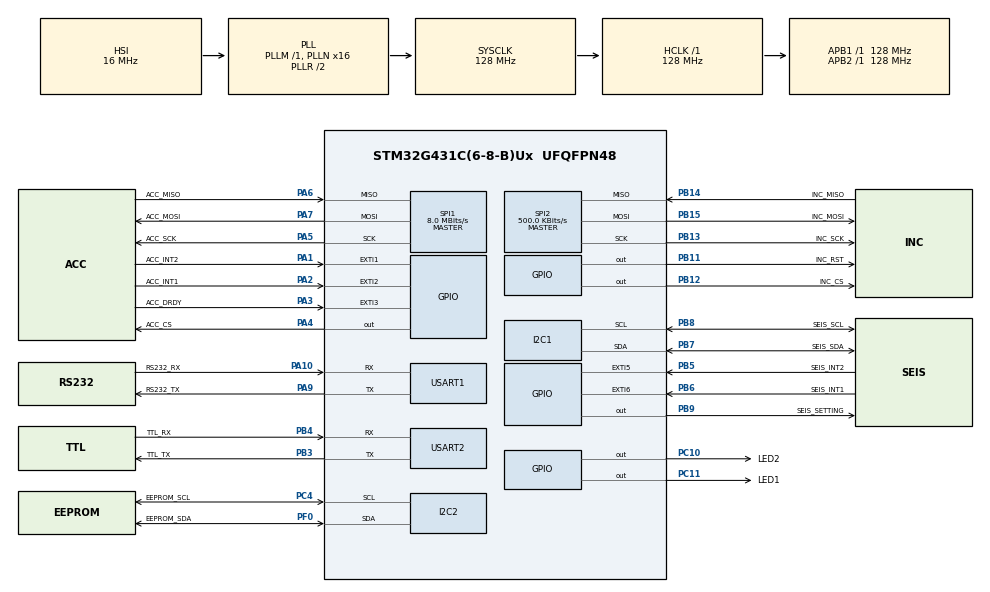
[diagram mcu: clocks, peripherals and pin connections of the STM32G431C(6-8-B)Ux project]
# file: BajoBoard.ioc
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Dma.Request0=USART1_RX
Dma.Request1=USART2_RX
Dma.USART1_RX.0.Direction=DMA_PERIPH_TO_MEMORY
Dma.USART1_RX.0.EventEnable=DISABLE
Dma.USART1_RX.0.Instance=DMA1_Channel1
Dma.USART1_RX.0.MemDataAlignment=DMA_MDATAALIGN_BYTE
Dma.USART1_RX.0.MemInc=DMA_MINC_ENABLE
Dma.USART1_RX.0.Mode=DMA_CIRCULAR
Dma.USART1_RX.0.PeriphDataAlignment=DMA_PDATAALIGN_BYTE
Dma.USART1_RX.0.PeriphInc=DMA_PINC_DISABLE
Dma.USART1_RX.0.Polarity=HAL_DMAMUX_REQ_GEN_RISING
Dma.USART1_RX.0.Priority=DMA_PRIORITY_VERY_HIGH
Dma.USART1_RX.0.RequestNumber=1
Dma.USART1_RX.0.SignalID=NONE
Dma.USART1_RX.0.SyncEnable=DISABLE
Dma.USART1_RX.0.SyncPolarity=HAL_DMAMUX_SYNC_NO_EVENT
Dma.USART1_RX.0.SyncRequestNumber=1
Dma.USART1_RX.0.SyncSignalID=NONE
Dma.USART2_RX.1.Direction=DMA_PERIPH_TO_MEMORY
Dma.USART2_RX.1.EventEnable=DISABLE
Dma.USART2_RX.1.Instance=DMA1_Channel2
Dma.USART2_RX.1.MemDataAlignment=DMA_MDATAALIGN_BYTE
Dma.USART2_RX.1.MemInc=DMA_MINC_ENABLE
Dma.USART2_RX.1.Mode=DMA_CIRCULAR
Dma.USART2_RX.1.PeriphDataAlignment=DMA_PDATAALIGN_BYTE
Dma.USART2_RX.1.PeriphInc=DMA_PINC_DISABLE
Dma.USART2_RX.1.Polarity=HAL_DMAMUX_REQ_GEN_RISING
Dma.USART2_RX.1.Priority=DMA_PRIORITY_MEDIUM
Dma.USART2_RX.1.RequestNumber=1
Dma.USART2_RX.1.SignalID=NONE
Dma.USART2_RX.1.SyncEnable=DISABLE
Dma.USART2_RX.1.SyncPolarity=HAL_DMAMUX_SYNC_NO_EVENT
Dma.USART2_RX.1.SyncRequestNumber=1
Dma.USART2_RX.1.SyncSignalID=NONE
FREERTOS.BinarySemaphores01=rtcBinarySem,Dynamic,NULL;intBinarySem,Dynamic,NULL;RS232BinarySem,Dynamic,NULL
FREERTOS.Queues01=serialQueue,2,30,1,Dynamic,NULL,NULL;ttlQueue,4,30,1,Dynamic,NULL,NULL
FREERTOS.Tasks01=defaultTask,24,512,StartDefaultTask,Default,NULL,Dynamic,NULL,NULL;accTask,40,512,StartAccTask,Default,NULL,Dynamic,NULL,NULL;serialTask,32,512,StartSerialTask,Default,NULL,Dynamic,NULL,NULL;ttlTask,8,256,StartTtlTask,Default,NULL,Dynamic,NULL,NULL;watchdogTask,43,256,StartWatchdogTask,Default,NULL,Dynamic,NULL,NULL
FREERTOS.configTOTAL_HEAP_SIZE=10000
I2C1.Timing=0x20A0C4DF
I2C2.Timing=0x20A0C4DF
Mcu.Family=STM32G4
Mcu.Name=STM32G431C(6-8-B)Ux
Mcu.Package=UFQFPN48
NVIC.DMA1_Channel1_IRQn=true\:5\:0\:false\:true\:true\:2\:true\:false\:true
NVIC.DMA1_Channel2_IRQn=true\:5\:0\:false\:true\:true\:1\:true\:false\:true
NVIC.EXTI1_IRQn=true\:5\:0\:false\:true\:true\:9\:true\:true\:true
NVIC.EXTI2_IRQn=true\:5\:0\:false\:true\:true\:5\:true\:true\:true
NVIC.EXTI3_IRQn=true\:5\:0\:false\:true\:true\:8\:false\:true\:true
NVIC.EXTI9_5_IRQn=true\:5\:0\:false\:true\:true\:6\:true\:true\:true
NVIC.PriorityGroup=NVIC_PRIORITYGROUP_4
NVIC.RTC_Alarm_IRQn=true\:5\:0\:false\:true\:true\:7\:true\:true\:true
NVIC.TIM6_DAC_IRQn=true\:0\:0\:false\:false\:true\:false\:false\:true
NVIC.TimeBase=TIM6_DAC_IRQn
NVIC.TimeBaseIP=TIM6
NVIC.USART1_IRQn=true\:5\:0\:false\:true\:true\:3\:true\:true\:true
NVIC.USART2_IRQn=true\:5\:0\:false\:true\:true\:4\:true\:true\:true
PA1.GPIO_Label=ACC_INT2
PA1.Signal=GPXTI1
PA10.GPIO_Label=RS232_RX
PA10.Mode=Asynchronous
PA10.Signal=USART1_RX
PA13.Mode=Serial_Wire
PA13.Signal=SYS_JTMS-SWDIO
PA14.Mode=Serial_Wire
PA14.Signal=SYS_JTCK-SWCLK
PA2.GPIO_Label=ACC_INT1
PA2.GPIO_ModeDefaultEXTI=GPIO_MODE_IT_FALLING
PA2.Signal=GPXTI2
PA3.GPIO_Label=ACC_DRDY
PA3.Signal=GPXTI3
PA4.GPIO_Label=ACC_CS
PA4.Signal=GPIO_Output
PA5.GPIO_Label=ACC_SCK
PA5.Mode=Full_Duplex_Master
PA5.Signal=SPI1_SCK
PA6.GPIO_Label=ACC_MISO
PA6.Mode=Full_Duplex_Master
PA6.Signal=SPI1_MISO
PA7.GPIO_Label=ACC_MOSI
PA7.Mode=Full_Duplex_Master
PA7.Signal=SPI1_MOSI
PA9.GPIO_Label=RS232_TX
PA9.Mode=Asynchronous
PA9.Signal=USART1_TX
PB11.GPIO_Label=INC_RST
PB11.GPIO_PuPd=GPIO_PULLUP
PB11.PinState=GPIO_PIN_SET
PB11.Signal=GPIO_Output
PB12.GPIO_Label=INC_CS
PB12.GPIO_ModeDefaultOutputPP=GPIO_MODE_OUTPUT_PP
PB12.GPIO_PuPd=GPIO_PULLUP
PB12.PinState=GPIO_PIN_SET
PB12.Signal=GPIO_Output
PB13.GPIO_Label=INC_SCK
PB13.Mode=Full_Duplex_Master
PB13.Signal=SPI2_SCK
PB14.GPIO_Label=INC_MISO
PB14.Mode=Full_Duplex_Master
PB14.Signal=SPI2_MISO
PB15.GPIO_Label=INC_MOSI
PB15.Mode=Full_Duplex_Master
PB15.Signal=SPI2_MOSI
PB3.GPIO_Label=TTL_TX
PB3.Mode=Asynchronous
PB3.Signal=USART2_TX
PB4.GPIO_Label=TTL_RX
PB4.Mode=Asynchronous
PB4.Signal=USART2_RX
PB5.GPIO_Label=SEIS_INT2
PB5.GPIO_ModeDefaultEXTI=GPIO_MODE_IT_FALLING
PB5.Signal=GPXTI5
PB6.GPIO_Label=SEIS_INT1
PB6.GPIO_ModeDefaultEXTI=GPIO_MODE_IT_FALLING
PB6.Signal=GPXTI6
PB7.GPIO_Label=SEIS_SDA
PB7.Mode=I2C
PB7.Signal=I2C1_SDA
PB8-BOOT0.GPIO_Label=SEIS_SCL
PB8-BOOT0.Mode=I2C
PB8-BOOT0.Signal=I2C1_SCL
PB9.GPIO_Label=SEIS_SETTING
PB9.Signal=GPIO_Output
PC10.GPIO_Label=LED2
PC10.Signal=GPIO_Output
PC11.GPIO_Label=LED1
PC11.Signal=GPIO_Output
PC4.GPIO_Label=EEPROM_SCL
PC4.Mode=I2C
PC4.Signal=I2C2_SCL
PF0-OSC_IN.GPIO_Label=EEPROM_SDA
PF0-OSC_IN.Mode=I2C
PF0-OSC_IN.Signal=I2C2_SDA
ProjectManager.HeapSize=0x200
ProjectManager.StackSize=0x400
ProjectManager.TargetToolchain=STM32CubeIDE
RCC.ADC12Freq_Value=128000000
RCC.AHBFreq_Value=128000000
RCC.APB1Freq_Value=128000000
RCC.APB1TimFreq_Value=128000000
RCC.APB2Freq_Value=128000000
RCC.APB2TimFreq_Value=128000000
RCC.CortexFreq_Value=128000000
RCC.EXTERNAL_CLOCK_VALUE=12288000
RCC.HCLKFreq_Value=128000000
RCC.HSE_VALUE=8000000
RCC.HSI48_VALUE=48000000
RCC.HSI_VALUE=16000000
RCC.LSE_VALUE=32768
RCC.PLLN=16
RCC.PLLQ=RCC_PLLQ_DIV4
RCC.SYSCLKFreq_VALUE=128000000
RCC.SYSCLKSource=RCC_SYSCLKSOURCE_PLLCLK
RCC.USBFreq_Value=64000000
RCC.VCOOutputFreq_Value=256000000
RTC.Alarm-Alarm\ A=RTC_ALARM_A
RTC.AlarmMaskDateWeekDay-Alarm\ A=RTC_ALARMMASK_DATEWEEKDAY
RTC.AlarmMaskHours-Alarm\ A=RTC_ALARMMASK_HOURS
RTC.AlarmMaskMinutes-Alarm\ A=RTC_ALARMMASK_MINUTES
RTC.AlarmMaskSeconds-Alarm\ A=RTC_ALARMMASK_SECONDS
RTC.Format=RTC_FORMAT_BIN
RTC.SynchPrediv=249
SPI1.BaudRatePrescaler=SPI_BAUDRATEPRESCALER_16
SPI1.CLKPhase=SPI_PHASE_1EDGE
SPI1.CLKPolarity=SPI_POLARITY_LOW
SPI1.CalculateBaudRate=8.0 MBits/s
SPI1.DataSize=SPI_DATASIZE_8BIT
SPI1.Direction=SPI_DIRECTION_2LINES
SPI1.Mode=SPI_MODE_MASTER
SPI1.NSSPMode=SPI_NSS_PULSE_DISABLE
SPI1.VirtualType=VM_MASTER
SPI2.BaudRatePrescaler=SPI_BAUDRATEPRESCALER_256
SPI2.CLKPhase=SPI_PHASE_2EDGE
SPI2.CLKPolarity=SPI_POLARITY_HIGH
SPI2.CalculateBaudRate=500.0 KBits/s
SPI2.DataSize=SPI_DATASIZE_8BIT
SPI2.Direction=SPI_DIRECTION_2LINES
SPI2.Mode=SPI_MODE_MASTER
SPI2.VirtualType=VM_MASTER
USART1.VirtualMode-Asynchronous=VM_ASYNC
USART2.VirtualMode-Asynchronous=VM_ASYNC
VP_FREERTOS_VS_CMSIS_V2.Mode=CMSIS_V2
VP_IWDG_VS_IWDG.Mode=IWDG_Activate
VP_RTC_VS_RTC_Activate.Mode=RTC_Enabled
VP_RTC_VS_RTC_Alarm_A_Intern.Mode=Alarm A
VP_RTC_VS_RTC_Calendar.Mode=RTC_Calendar
VP_SYS_VS_DBSignals.Mode=DisableDeadBatterySignals
VP_SYS_VS_tim6.Mode=TIM6
board=custom

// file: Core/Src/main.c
/* USER CODE BEGIN Header */
/**
  ******************************************************************************
  * @file           : main.c
  * @brief          : Main program body
  ******************************************************************************
  * @attention
  *
  * <h2><center>&copy; Copyright (c) 2021 STMicroelectronics.
  * All rights reserved.</center></h2>
  *
  * This software component is licensed by ST under BSD 3-Clause license,
  * the "License"; You may not use this file except in compliance with the
  * License. You may obtain a copy of the License at:
  *                        opensource.org/licenses/BSD-3-Clause
  *
  ******************************************************************************
  */
/* USER CODE END Header */
#include "main.h"
#include "cmsis_os.h"

/* USER CODE BEGIN Includes */
#include "parameter_universal.h"
/* USER CODE END Includes */

I2C_HandleTypeDef hi2c1;
I2C_HandleTypeDef hi2c2;

IWDG_HandleTypeDef hiwdg;

RTC_HandleTypeDef hrtc;

SPI_HandleTypeDef hspi1;
SPI_HandleTypeDef hspi2;

UART_HandleTypeDef huart1;
UART_HandleTypeDef huart2;
DMA_HandleTypeDef hdma_usart1_rx;
DMA_HandleTypeDef hdma_usart2_rx;

/* Definitions for defaultTask */
osThreadId_t defaultTaskHandle;
const osThreadAttr_t defaultTask_attributes = {
  .name = "defaultTask",
  .priority = (osPriority_t) osPriorityNormal,
  .stack_size = 512 * 4
};
/* Definitions for accTask */
osThreadId_t accTaskHandle;
const osThreadAttr_t accTask_attributes = {
  .name = "accTask",
  .priority = (osPriority_t) osPriorityNormal,
  .stack_size = 512 * 4
};
/* Definitions for serialTask */
osThreadId_t serialTaskHandle;
const osThreadAttr_t serialTask_attributes = {
  .name = "serialTask",
  .priority = (osPriority_t) osPriorityNormal,
  .stack_size = 512 * 4
};
/* Definitions for ttlTask */
osThreadId_t ttlTaskHandle;
const osThreadAttr_t ttlTask_attributes = {
  .name = "ttlTask",
  .priority = (osPriority_t) osPriorityNormal,
  .stack_size = 256 * 4
};
/* Definitions for watchdogTask */
osThreadId_t watchdogTaskHandle;
const osThreadAttr_t watchdogTask_attributes = {
  .name = "watchdogTask",
  .priority = (osPriority_t) osPriorityNormal,
  .stack_size = 256 * 4
};
/* Definitions for serialQueue */
osMessageQueueId_t serialQueueHandle;
const osMessageQueueAttr_t serialQueue_attributes = {
  .name = "serialQueue"
};
/* Definitions for ttlQueue */
osMessageQueueId_t ttlQueueHandle;
const osMessageQueueAttr_t ttlQueue_attributes = {
  .name = "ttlQueue"
};
/* Definitions for rtcBinarySem */
osSemaphoreId_t rtcBinarySemHandle;
const osSemaphoreAttr_t rtcBinarySem_attributes = {
  .name = "rtcBinarySem"
};
/* Definitions for intBinarySem */
osSemaphoreId_t intBinarySemHandle;
const osSemaphoreAttr_t intBinarySem_attributes = {
  .name = "intBinarySem"
};
/* Definitions for RS232BinarySem */
osSemaphoreId_t RS232BinarySemHandle;
const osSemaphoreAttr_t RS232BinarySem_attributes = {
  .name = "RS232BinarySem"
};
/* USER CODE BEGIN PV */

uint32_t defaultTaskTimer;
uint32_t accTaskTimer;
uint32_t serialTaskTimer;
uint32_t ttlTaskTimer;
uint32_t incTaskTimer;

float Ax,Ay,Az;
float roll;
float pitch;

/*
 * Variable stored in EEPROM
 */
uint8_t id;
uint8_t range_accelerometer;
uint8_t odr_accelerometer;
uint8_t autorun;
uint8_t raw;
int offsetx;
int offsety;
int offsetz;
uint8_t flagtemp;

/* USER CODE END PV */

void SystemClock_Config(void);
static void MX_GPIO_Init(void);
static void MX_DMA_Init(void);
static void MX_I2C2_Init(void);
static void MX_RTC_Init(void);
static void MX_SPI1_Init(void);
static void MX_SPI2_Init(void);
static void MX_USART1_UART_Init(void);
static void MX_USART2_UART_Init(void);
static void MX_I2C1_Init(void);
static void MX_IWDG_Init(void);
void StartDefaultTask(void *argument);
void StartAccTask(void *argument);
void StartSerialTask(void *argument);
void StartTtlTask(void *argument);
void StartWatchdogTask(void *argument);

static void MX_NVIC_Init(void);

int main(void)
{

  /* MCU Configuration--------------------------------------------------------*/

  /* Reset of all peripherals, Initializes the Flash interface and the Systick. */
  HAL_Init();

  /* Configure the system clock */
  SystemClock_Config();

  /* Initialize all configured peripherals */
  MX_GPIO_Init();
  MX_DMA_Init();
  MX_I2C2_Init();
  MX_RTC_Init();
  MX_SPI1_Init();
  MX_SPI2_Init();
  MX_USART1_UART_Init();
  MX_USART2_UART_Init();
  MX_I2C1_Init();
  MX_IWDG_Init();

  /* Initialize interrupts */
  MX_NVIC_Init();

  /* Init scheduler */
  osKernelInitialize();

  /* Create the semaphores(s) */
  /* creation of rtcBinarySem */
  rtcBinarySemHandle = osSemaphoreNew(1, 1, &rtcBinarySem_attributes);

  /* creation of intBinarySem */
  intBinarySemHandle = osSemaphoreNew(1, 1, &intBinarySem_attributes);

  /* creation of RS232BinarySem */
  RS232BinarySemHandle = osSemaphoreNew(1, 1, &RS232BinarySem_attributes);

  /* Create the queue(s) */
  /* creation of serialQueue */
  serialQueueHandle = osMessageQueueNew (2, 30, &serialQueue_attributes);

  /* creation of ttlQueue */
  ttlQueueHandle = osMessageQueueNew (4, 30, &ttlQueue_attributes);

  /* Create the thread(s) */
  /* creation of defaultTask */
  defaultTaskHandle = osThreadNew(StartDefaultTask, NULL, &defaultTask_attributes);

  /* creation of accTask */
  accTaskHandle = osThreadNew(StartAccTask, NULL, &accTask_attributes);

  /* creation of serialTask */
  serialTaskHandle = osThreadNew(StartSerialTask, NULL, &serialTask_attributes);

  /* creation of ttlTask */
  ttlTaskHandle = osThreadNew(StartTtlTask, NULL, &ttlTask_attributes);

  /* creation of watchdogTask */
  watchdogTaskHandle = osThreadNew(StartWatchdogTask, NULL, &watchdogTask_attributes);

  /* Start scheduler */
  osKernelStart();

  /* We should never get here as control is now taken by the scheduler */
  /* Infinite loop */
  while (1)
  {

  }
}

void SystemClock_Config(void)
{
  RCC_OscInitTypeDef RCC_OscInitStruct = {0};
  RCC_ClkInitTypeDef RCC_ClkInitStruct = {0};
  RCC_PeriphCLKInitTypeDef PeriphClkInit = {0};

  /** Configure the main internal regulator output voltage
  */
  HAL_PWREx_ControlVoltageScaling(PWR_REGULATOR_VOLTAGE_SCALE1);
  /** Initializes the RCC Oscillators according to the specified parameters
  * in the RCC_OscInitTypeDef structure.
  */
  RCC_OscInitStruct.OscillatorType = RCC_OSCILLATORTYPE_HSI|RCC_OSCILLATORTYPE_LSI;
  RCC_OscInitStruct.HSIState = RCC_HSI_ON;
  RCC_OscInitStruct.HSICalibrationValue = RCC_HSICALIBRATION_DEFAULT;
  RCC_OscInitStruct.LSIState = RCC_LSI_ON;
  RCC_OscInitStruct.PLL.PLLState = RCC_PLL_ON;
  RCC_OscInitStruct.PLL.PLLSource = RCC_PLLSOURCE_HSI;
  RCC_OscInitStruct.PLL.PLLM = RCC_PLLM_DIV1;
  RCC_OscInitStruct.PLL.PLLN = 16;
  RCC_OscInitStruct.PLL.PLLP = RCC_PLLP_DIV2;
  RCC_OscInitStruct.PLL.PLLQ = RCC_PLLQ_DIV4;
  RCC_OscInitStruct.PLL.PLLR = RCC_PLLR_DIV2;
  if (HAL_RCC_OscConfig(&RCC_OscInitStruct) != HAL_OK)
  {
    Error_Handler();
  }
  /** Initializes the CPU, AHB and APB buses clocks
  */
  RCC_ClkInitStruct.ClockType = RCC_CLOCKTYPE_HCLK|RCC_CLOCKTYPE_SYSCLK
                              |RCC_CLOCKTYPE_PCLK1|RCC_CLOCKTYPE_PCLK2;
  RCC_ClkInitStruct.SYSCLKSource = RCC_SYSCLKSOURCE_PLLCLK;
  RCC_ClkInitStruct.AHBCLKDivider = RCC_SYSCLK_DIV1;
  RCC_ClkInitStruct.APB1CLKDivider = RCC_HCLK_DIV1;
  RCC_ClkInitStruct.APB2CLKDivider = RCC_HCLK_DIV1;

  if (HAL_RCC_ClockConfig(&RCC_ClkInitStruct, FLASH_LATENCY_3) != HAL_OK)
  {
    Error_Handler();
  }
  /** Initializes the peripherals clocks
  */
  PeriphClkInit.PeriphClockSelection = RCC_PERIPHCLK_RTC|RCC_PERIPHCLK_USART1
                              |RCC_PERIPHCLK_USART2|RCC_PERIPHCLK_I2C1
                              |RCC_PERIPHCLK_I2C2;
  PeriphClkInit.Usart1ClockSelection = RCC_USART1CLKSOURCE_PCLK2;
  PeriphClkInit.Usart2ClockSelection = RCC_USART2CLKSOURCE_PCLK1;
  PeriphClkInit.I2c1ClockSelection = RCC_I2C1CLKSOURCE_PCLK1;
  PeriphClkInit.I2c2ClockSelection = RCC_I2C2CLKSOURCE_PCLK1;
  PeriphClkInit.RTCClockSelection = RCC_RTCCLKSOURCE_LSI;

  if (HAL_RCCEx_PeriphCLKConfig(&PeriphClkInit) != HAL_OK)
  {
    Error_Handler();
  }
}

/**
  * @brief NVIC Configuration.
  * @retval None
  */
static void MX_NVIC_Init(void)
{
  /* DMA1_Channel2_IRQn interrupt configuration */
  HAL_NVIC_SetPriority(DMA1_Channel2_IRQn, 5, 0);
  HAL_NVIC_EnableIRQ(DMA1_Channel2_IRQn);
  /* DMA1_Channel1_IRQn interrupt configuration */
  HAL_NVIC_SetPriority(DMA1_Channel1_IRQn, 5, 0);
  HAL_NVIC_EnableIRQ(DMA1_Channel1_IRQn);
  /* USART1_IRQn interrupt configuration */
  HAL_NVIC_SetPriority(USART1_IRQn, 5, 0);
  HAL_NVIC_EnableIRQ(USART1_IRQn);
  /* USART2_IRQn interrupt configuration */
  HAL_NVIC_SetPriority(USART2_IRQn, 5, 0);
  HAL_NVIC_EnableIRQ(USART2_IRQn);
  /* EXTI2_IRQn interrupt configuration */
  HAL_NVIC_SetPriority(EXTI2_IRQn, 5, 0);
  HAL_NVIC_EnableIRQ(EXTI2_IRQn);
  /* EXTI9_5_IRQn interrupt configuration */
  HAL_NVIC_SetPriority(EXTI9_5_IRQn, 5, 0);
  HAL_NVIC_EnableIRQ(EXTI9_5_IRQn);
  /* RTC_Alarm_IRQn interrupt configuration */
  HAL_NVIC_SetPriority(RTC_Alarm_IRQn, 5, 0);
  HAL_NVIC_EnableIRQ(RTC_Alarm_IRQn);
  /* EXTI3_IRQn interrupt configuration */
  HAL_NVIC_SetPriority(EXTI3_IRQn, 5, 0);
  HAL_NVIC_EnableIRQ(EXTI3_IRQn);
  /* EXTI1_IRQn interrupt configuration */
  HAL_NVIC_SetPriority(EXTI1_IRQn, 5, 0);
  HAL_NVIC_EnableIRQ(EXTI1_IRQn);
}

static void MX_I2C1_Init(void)
{

  hi2c1.Instance = I2C1;
  hi2c1.Init.Timing = 0x20A0C4DF;
  hi2c1.Init.OwnAddress1 = 0;
  hi2c1.Init.AddressingMode = I2C_ADDRESSINGMODE_7BIT;
  hi2c1.Init.DualAddressMode = I2C_DUALADDRESS_DISABLE;
  hi2c1.Init.OwnAddress2 = 0;
  hi2c1.Init.OwnAddress2Masks = I2C_OA2_NOMASK;
  hi2c1.Init.GeneralCallMode = I2C_GENERALCALL_DISABLE;
  hi2c1.Init.NoStretchMode = I2C_NOSTRETCH_DISABLE;
  if (HAL_I2C_Init(&hi2c1) != HAL_OK)
  {
    Error_Handler();
  }
  /** Configure Analogue filter
  */
  if (HAL_I2CEx_ConfigAnalogFilter(&hi2c1, I2C_ANALOGFILTER_ENABLE) != HAL_OK)
  {
    Error_Handler();
  }
  /** Configure Digital filter
  */
  if (HAL_I2CEx_ConfigDigitalFilter(&hi2c1, 0) != HAL_OK)
  {
    Error_Handler();
  }

}

static void MX_I2C2_Init(void)
{

  hi2c2.Instance = I2C2;
  hi2c2.Init.Timing = 0x20A0C4DF;
  hi2c2.Init.OwnAddress1 = 0;
  hi2c2.Init.AddressingMode = I2C_ADDRESSINGMODE_7BIT;
  hi2c2.Init.DualAddressMode = I2C_DUALADDRESS_DISABLE;
  hi2c2.Init.OwnAddress2 = 0;
  hi2c2.Init.OwnAddress2Masks = I2C_OA2_NOMASK;
  hi2c2.Init.GeneralCallMode = I2C_GENERALCALL_DISABLE;
  hi2c2.Init.NoStretchMode = I2C_NOSTRETCH_DISABLE;
  if (HAL_I2C_Init(&hi2c2) != HAL_OK)
  {
    Error_Handler();
  }
  /** Configure Analogue filter
  */
  if (HAL_I2CEx_ConfigAnalogFilter(&hi2c2, I2C_ANALOGFILTER_ENABLE) != HAL_OK)
  {
    Error_Handler();
  }
  /** Configure Digital filter
  */
  if (HAL_I2CEx_ConfigDigitalFilter(&hi2c2, 0) != HAL_OK)
  {
    Error_Handler();
  }

}

static void MX_IWDG_Init(void)
{

  hiwdg.Instance = IWDG;
  hiwdg.Init.Prescaler = IWDG_PRESCALER_4;
  hiwdg.Init.Window = 4095;
  hiwdg.Init.Reload = 4095;
  if (HAL_IWDG_Init(&hiwdg) != HAL_OK)
  {
    Error_Handler();
  }

}

static void MX_RTC_Init(void)
{

  RTC_TimeTypeDef sTime = {0};
  RTC_DateTypeDef sDate = {0};
  RTC_AlarmTypeDef sAlarm = {0};

  /** Initialize RTC Only
  */
  hrtc.Instance = RTC;
  hrtc.Init.HourFormat = RTC_HOURFORMAT_24;
  hrtc.Init.AsynchPrediv = 127;
  hrtc.Init.SynchPrediv = 249;
  hrtc.Init.OutPut = RTC_OUTPUT_DISABLE;
  hrtc.Init.OutPutRemap = RTC_OUTPUT_REMAP_NONE;
  hrtc.Init.OutPutPolarity = RTC_OUTPUT_POLARITY_HIGH;
  hrtc.Init.OutPutType = RTC_OUTPUT_TYPE_OPENDRAIN;
  hrtc.Init.OutPutPullUp = RTC_OUTPUT_PULLUP_NONE;
  if (HAL_RTC_Init(&hrtc) != HAL_OK)
  {
    Error_Handler();
  }

  /** Initialize RTC and set the Time and Date
  */
  sTime.Hours = 0;
  sTime.Minutes = 0;
  sTime.Seconds = 0;
  sTime.SubSeconds = 0;
  sTime.DayLightSaving = RTC_DAYLIGHTSAVING_NONE;
  sTime.StoreOperation = RTC_STOREOPERATION_RESET;
  if (HAL_RTC_SetTime(&hrtc, &sTime, RTC_FORMAT_BIN) != HAL_OK)
  {
    Error_Handler();
  }
  sDate.WeekDay = RTC_WEEKDAY_MONDAY;
  sDate.Month = RTC_MONTH_JANUARY;
  sDate.Date = 1;
  sDate.Year = 0;
  if (HAL_RTC_SetDate(&hrtc, &sDate, RTC_FORMAT_BIN) != HAL_OK)
  {
    Error_Handler();
  }
  /** Enable the Alarm A
  */
  sAlarm.AlarmTime.Hours = 0;
  sAlarm.AlarmTime.Minutes = 0;
  sAlarm.AlarmTime.Seconds = 0;
  sAlarm.AlarmTime.SubSeconds = 0;
  sAlarm.AlarmMask = RTC_ALARMMASK_ALL;
  sAlarm.AlarmSubSecondMask = RTC_ALARMSUBSECONDMASK_ALL;
  sAlarm.AlarmDateWeekDaySel = RTC_ALARMDATEWEEKDAYSEL_DATE;
  sAlarm.AlarmDateWeekDay = 1;
  sAlarm.Alarm = RTC_ALARM_A;
  if (HAL_RTC_SetAlarm_IT(&hrtc, &sAlarm, RTC_FORMAT_BIN) != HAL_OK)
  {
    Error_Handler();
  }

}

static void MX_SPI1_Init(void)
{

  /* SPI1 parameter configuration*/
  hspi1.Instance = SPI1;
  hspi1.Init.Mode = SPI_MODE_MASTER;
  hspi1.Init.Direction = SPI_DIRECTION_2LINES;
  hspi1.Init.DataSize = SPI_DATASIZE_8BIT;
  hspi1.Init.CLKPolarity = SPI_POLARITY_LOW;
  hspi1.Init.CLKPhase = SPI_PHASE_1EDGE;
  hspi1.Init.NSS = SPI_NSS_SOFT;
  hspi1.Init.BaudRatePrescaler = SPI_BAUDRATEPRESCALER_16;
  hspi1.Init.FirstBit = SPI_FIRSTBIT_MSB;
  hspi1.Init.TIMode = SPI_TIMODE_DISABLE;
  hspi1.Init.CRCCalculation = SPI_CRCCALCULATION_DISABLE;
  hspi1.Init.CRCPolynomial = 7;
  hspi1.Init.CRCLength = SPI_CRC_LENGTH_DATASIZE;
  hspi1.Init.NSSPMode = SPI_NSS_PULSE_DISABLE;
  if (HAL_SPI_Init(&hspi1) != HAL_OK)
  {
    Error_Handler();
  }

}

static void MX_SPI2_Init(void)
{

  /* SPI2 parameter configuration*/
  hspi2.Instance = SPI2;
  hspi2.Init.Mode = SPI_MODE_MASTER;
  hspi2.Init.Direction = SPI_DIRECTION_2LINES;
  hspi2.Init.DataSize = SPI_DATASIZE_8BIT;
  hspi2.Init.CLKPolarity = SPI_POLARITY_HIGH;
  hspi2.Init.CLKPhase = SPI_PHASE_2EDGE;
  hspi2.Init.NSS = SPI_NSS_SOFT;
  hspi2.Init.BaudRatePrescaler = SPI_BAUDRATEPRESCALER_256;
  hspi2.Init.FirstBit = SPI_FIRSTBIT_MSB;
  hspi2.Init.TIMode = SPI_TIMODE_DISABLE;
  hspi2.Init.CRCCalculation = SPI_CRCCALCULATION_DISABLE;
  hspi2.Init.CRCPolynomial = 7;
  hspi2.Init.CRCLength = SPI_CRC_LENGTH_DATASIZE;
  hspi2.Init.NSSPMode = SPI_NSS_PULSE_DISABLE;
  if (HAL_SPI_Init(&hspi2) != HAL_OK)
  {
    Error_Handler();
  }

}

static void MX_USART1_UART_Init(void)
{

  huart1.Instance = USART1;
  huart1.Init.BaudRate = 115200;
  huart1.Init.WordLength = UART_WORDLENGTH_8B;
  huart1.Init.StopBits = UART_STOPBITS_1;
  huart1.Init.Parity = UART_PARITY_NONE;
  huart1.Init.Mode = UART_MODE_TX_RX;
  huart1.Init.HwFlowCtl = UART_HWCONTROL_NONE;
  huart1.Init.OverSampling = UART_OVERSAMPLING_16;
  huart1.Init.OneBitSampling = UART_ONE_BIT_SAMPLE_DISABLE;
  huart1.Init.ClockPrescaler = UART_PRESCALER_DIV1;
  huart1.AdvancedInit.AdvFeatureInit = UART_ADVFEATURE_NO_INIT;
  if (HAL_UART_Init(&huart1) != HAL_OK)
  {
    Error_Handler();
  }
  if (HAL_UARTEx_SetTxFifoThreshold(&huart1, UART_TXFIFO_THRESHOLD_1_8) != HAL_OK)
  {
    Error_Handler();
  }
  if (HAL_UARTEx_SetRxFifoThreshold(&huart1, UART_RXFIFO_THRESHOLD_1_8) != HAL_OK)
  {
    Error_Handler();
  }
  if (HAL_UARTEx_DisableFifoMode(&huart1) != HAL_OK)
  {
    Error_Handler();
  }

}

static void MX_USART2_UART_Init(void)
{

  huart2.Instance = USART2;
  huart2.Init.BaudRate = 115200;
  huart2.Init.WordLength = UART_WORDLENGTH_8B;
  huart2.Init.StopBits = UART_STOPBITS_1;
  huart2.Init.Parity = UART_PARITY_NONE;
  huart2.Init.Mode = UART_MODE_TX_RX;
  huart2.Init.HwFlowCtl = UART_HWCONTROL_NONE;
  huart2.Init.OverSampling = UART_OVERSAMPLING_16;
  huart2.Init.OneBitSampling = UART_ONE_BIT_SAMPLE_DISABLE;
  huart2.Init.ClockPrescaler = UART_PRESCALER_DIV1;
  huart2.AdvancedInit.AdvFeatureInit = UART_ADVFEATURE_NO_INIT;
  if (HAL_UART_Init(&huart2) != HAL_OK)
  {
    Error_Handler();
  }
  if (HAL_UARTEx_SetTxFifoThreshold(&huart2, UART_TXFIFO_THRESHOLD_1_8) != HAL_OK)
  {
    Error_Handler();
  }
  if (HAL_UARTEx_SetRxFifoThreshold(&huart2, UART_RXFIFO_THRESHOLD_1_8) != HAL_OK)
  {
    Error_Handler();
  }
  if (HAL_UARTEx_DisableFifoMode(&huart2) != HAL_OK)
  {
    Error_Handler();
  }

}

static void MX_DMA_Init(void)
{

  /* DMA controller clock enable */
  __HAL_RCC_DMAMUX1_CLK_ENABLE();
  __HAL_RCC_DMA1_CLK_ENABLE();

}

static void MX_GPIO_Init(void)
{
  GPIO_InitTypeDef GPIO_InitStruct = {0};

  /* GPIO Ports Clock Enable */
  __HAL_RCC_GPIOC_CLK_ENABLE();
  __HAL_RCC_GPIOF_CLK_ENABLE();
  __HAL_RCC_GPIOG_CLK_ENABLE();
  __HAL_RCC_GPIOA_CLK_ENABLE();
  __HAL_RCC_GPIOB_CLK_ENABLE();

  /*Configure GPIO pin Output Level */
  HAL_GPIO_WritePin(ACC_CS_GPIO_Port, ACC_CS_Pin, GPIO_PIN_RESET);

  /*Configure GPIO pin Output Level */
  HAL_GPIO_WritePin(GPIOB, INC_RST_Pin|INC_CS_Pin, GPIO_PIN_SET);

  /*Configure GPIO pin Output Level */
  HAL_GPIO_WritePin(GPIOC, LED2_Pin|LED1_Pin, GPIO_PIN_RESET);

  /*Configure GPIO pin Output Level */
  HAL_GPIO_WritePin(SEIS_SETTING_GPIO_Port, SEIS_SETTING_Pin, GPIO_PIN_RESET);

  /*Configure GPIO pins : PC13 PC14 PC15 PC6 */
  GPIO_InitStruct.Pin = GPIO_PIN_13|GPIO_PIN_14|GPIO_PIN_15|GPIO_PIN_6;
  GPIO_InitStruct.Mode = GPIO_MODE_ANALOG;
  GPIO_InitStruct.Pull = GPIO_NOPULL;
  HAL_GPIO_Init(GPIOC, &GPIO_InitStruct);

  /*Configure GPIO pin : PF1 */
  GPIO_InitStruct.Pin = GPIO_PIN_1;
  GPIO_InitStruct.Mode = GPIO_MODE_ANALOG;
  GPIO_InitStruct.Pull = GPIO_NOPULL;
  HAL_GPIO_Init(GPIOF, &GPIO_InitStruct);

  /*Configure GPIO pin : PG10 */
  GPIO_InitStruct.Pin = GPIO_PIN_10;
  GPIO_InitStruct.Mode = GPIO_MODE_ANALOG;
  GPIO_InitStruct.Pull = GPIO_NOPULL;
  HAL_GPIO_Init(GPIOG, &GPIO_InitStruct);

  /*Configure GPIO pins : PA0 PA8 PA11 PA12
                           PA15 */
  GPIO_InitStruct.Pin = GPIO_PIN_0|GPIO_PIN_8|GPIO_PIN_11|GPIO_PIN_12
                          |GPIO_PIN_15;
  GPIO_InitStruct.Mode = GPIO_MODE_ANALOG;
  GPIO_InitStruct.Pull = GPIO_NOPULL;
  HAL_GPIO_Init(GPIOA, &GPIO_InitStruct);

  /*Configure GPIO pins : ACC_INT2_Pin ACC_DRDY_Pin */
  GPIO_InitStruct.Pin = ACC_INT2_Pin|ACC_DRDY_Pin;
  GPIO_InitStruct.Mode = GPIO_MODE_IT_RISING;
  GPIO_InitStruct.Pull = GPIO_NOPULL;
  HAL_GPIO_Init(GPIOA, &GPIO_InitStruct);

  /*Configure GPIO pin : ACC_INT1_Pin */
  GPIO_InitStruct.Pin = ACC_INT1_Pin;
  GPIO_InitStruct.Mode = GPIO_MODE_IT_FALLING;
  GPIO_InitStruct.Pull = GPIO_NOPULL;
  HAL_GPIO_Init(ACC_INT1_GPIO_Port, &GPIO_InitStruct);

  /*Configure GPIO pin : ACC_CS_Pin */
  GPIO_InitStruct.Pin = ACC_CS_Pin;
  GPIO_InitStruct.Mode = GPIO_MODE_OUTPUT_PP;
  GPIO_InitStruct.Pull = GPIO_NOPULL;
  GPIO_InitStruct.Speed = GPIO_SPEED_FREQ_LOW;
  HAL_GPIO_Init(ACC_CS_GPIO_Port, &GPIO_InitStruct);

  /*Configure GPIO pins : PB0 PB1 PB2 PB10 */
  GPIO_InitStruct.Pin = GPIO_PIN_0|GPIO_PIN_1|GPIO_PIN_2|GPIO_PIN_10;
  GPIO_InitStruct.Mode = GPIO_MODE_ANALOG;
  GPIO_InitStruct.Pull = GPIO_NOPULL;
  HAL_GPIO_Init(GPIOB, &GPIO_InitStruct);

  /*Configure GPIO pins : INC_RST_Pin INC_CS_Pin */
  GPIO_InitStruct.Pin = INC_RST_Pin|INC_CS_Pin;
  GPIO_InitStruct.Mode = GPIO_MODE_OUTPUT_PP;
  GPIO_InitStruct.Pull = GPIO_PULLUP;
  GPIO_InitStruct.Speed = GPIO_SPEED_FREQ_LOW;
  HAL_GPIO_Init(GPIOB, &GPIO_InitStruct);

  /*Configure GPIO pins : LED2_Pin LED1_Pin */
  GPIO_InitStruct.Pin = LED2_Pin|LED1_Pin;
  GPIO_InitStruct.Mode = GPIO_MODE_OUTPUT_PP;
  GPIO_InitStruct.Pull = GPIO_NOPULL;
  GPIO_InitStruct.Speed = GPIO_SPEED_FREQ_LOW;
  HAL_GPIO_Init(GPIOC, &GPIO_InitStruct);

  /*Configure GPIO pins : SEIS_INT2_Pin SEIS_INT1_Pin */
  GPIO_InitStruct.Pin = SEIS_INT2_Pin|SEIS_INT1_Pin;
  GPIO_InitStruct.Mode = GPIO_MODE_IT_FALLING;
  GPIO_InitStruct.Pull = GPIO_NOPULL;
  HAL_GPIO_Init(GPIOB, &GPIO_InitStruct);

  /*Configure GPIO pin : SEIS_SETTING_Pin */
  GPIO_InitStruct.Pin = SEIS_SETTING_Pin;
  GPIO_InitStruct.Mode = GPIO_MODE_OUTPUT_PP;
  GPIO_InitStruct.Pull = GPIO_NOPULL;
  GPIO_InitStruct.Speed = GPIO_SPEED_FREQ_LOW;
  HAL_GPIO_Init(SEIS_SETTING_GPIO_Port, &GPIO_InitStruct);

}

/* USER CODE BEGIN 4 */

/*
 * fungsi Callback Serial ketika data yang diterima telah lengkap.
 * fungsi ini dieksekusi setiap data masuk baik di mode interupsi maupun DMA
 */
void HAL_UART_RxCpltCallback(UART_HandleTypeDef *huart) {
	if (huart->Instance == USART1) //Serial RS232
	{
		SERIAL_Callback();
	}
	if (huart->Instance == USART2) //Serial TTL
	{
		TTL_Callback();
	}
}

/*
 * Handler for EXTI
 * fungsi callback untuk eksternal interupsi dari pin yang telah diatur
 * */
void HAL_GPIO_EXTI_Callback(uint16_t GPIO_Pin) {
	if (GPIO_Pin == GPIO_PIN_6) {
		serial_printf("$%u,03,earthquake_detected\r\n", id);
	}
}

void HAL_RTC_AlarmAEventCallback(RTC_HandleTypeDef *hrtc) { //alarm A pada mode buoy dibuat per menit
	osSemaphoreRelease(rtcBinarySemHandle);
}

/* USER CODE END 4 */

void StartDefaultTask(void *argument)
{
  /* USER CODE BEGIN 5 */
	//RTC_TimeTypeDef RTCMicro;
	//RTC_DateTypeDef RTCDateMicro;
	uint8_t buf[2];
	char buff[100];
	uint8_t checksum;
	//uint8_t buf2[2];
	//uint8_t buf3[2];
	//uint16_t buf;
	serial_printf("Bajo Board v1.0.0 by PTE BPPT \r\n");
	HAL_GPIO_WritePin(GPIOB, INC_RST_Pin, GPIO_PIN_SET);
	adis16209_read_reg(PROD_ID, buf, 2);
	serial_printf("inclino: %x %x\r\n",buf[0], buf[1]);
	serial_printf("done\r\n");
	HAL_GPIO_WritePin(GPIOC, LED1_Pin, GPIO_PIN_SET);
	osSemaphoreAcquire(rtcBinarySemHandle, 100);

  /* Infinite loop */
  for(;;)
  {
	  defaultTaskTimer = osKernelGetTickCount();

	  if (osSemaphoreGetCount(rtcBinarySemHandle) > 0) {
		  osSemaphoreAcquire(rtcBinarySemHandle, 100);
		  HAL_GPIO_TogglePin(GPIOC, LED2_Pin);
		  /*
			adis16209_read_reg(0x3C, buf2, 2);
			serial_printf("inclino status: %x %x\r\n",buf2[0], buf2[1]);
			if(buf2[0] == 0x00 && buf[1] == 0x00 ){
				adis16209_read_reg(0x0C, buf3, 2);
				serial_printf("inclino x: %x %x\r\n",buf3[0], buf3[1]);

			}
			else{
				adis16209_reset();
			}
		   */

		  //roll = CalculateRoll(Ay, Az);
		  //pitch = CalculatePitch(Ax, Ay, Az);

		  //serial_printf("x: %f y: %f z: %f\r\n",xdata, ydata, zdata);

		  if(flagtemp == 1){
			  pitch = 180.0 * atan (Ax/sqrt(Ay*Ay + Az*Az))/M_PI;
			  roll = 180.0 * atan (Ay/sqrt(Ax*Ax + Az*Az))/M_PI;

			  memset(buff, 0x00, sizeof(buff));
			  //sprintf(buff, "%02d,1,%f,%f,%f,%f", id, xdata/(float)1000000.0, ydata/(float)1000000.0, zdata/(float)1000000.0,temp);
			  sprintf(buff, "%02d,2,%f,%f", id, roll, pitch);
			  checksum=buff[0];
			  for(int i=1; i<strlen(buff); i++) checksum=checksum ^ buff[i];
			  //sprintf(buff, "$%02d,1,%f,%f,%f,%f*%02X\r\n", id, xdata/(float)1000000.0, ydata/(float)1000000.0, zdata/(float)1000000.0, temp, checksum);
			  sprintf(buff, "$%02d,2,%f,%f*%02X\r\n", id, roll, pitch, checksum);
			  //serial_printf("%s",buff);
			  osSemaphoreAcquire(RS232BinarySemHandle,100);
			  serial_puts(buff);
			  osSemaphoreRelease(RS232BinarySemHandle);

		  }
	  }
    osDelay(1);
  }
  /* USER CODE END 5 */
}

void StartAccTask(void *argument)
{
  /* USER CODE BEGIN StartAccTask */
	uint8_t checksum;
	char buff[100];
	int i;
	float temp;

	InitEEPROM();
	adxl355_range(range_accelerometer);
	adxl355_odr(odr_accelerometer);
/*
	if(offsetx < 32768 && offsetx>-32768) adxl355_offset_x(offsetx);
	if(offsety < 32768 && offsety>-32768) adxl355_offset_y(offsety);
	if(offsetz < 32768 && offsetz>-32768) adxl355_offset_z(offsetz);
*/
	if(autorun == 1) adxl355_start_measurement();
	if(autorun == 0) adxl355_stop_measurement();

  /* Infinite loop */
  for(;;)
  {
	  accTaskTimer = osKernelGetTickCount();
	  /*
	   * Read status sensor for get data ready status
	   */
	  if(adxl355_status()){ //data ready == 1
		  //read sensor data
		  //xdata = adxl355_x_axis();
		  //ydata = adxl355_y_axis();
		  //zdata = adxl355_z_axis();
		  //temp=adxl355_temperature();
		  adxl355_readData(&Ax, &Ay, &Az, &temp, range_accelerometer);
		  //generate checksum
		  //Tipe data=1 untuk data accelerometer format: $01,1,Ax,Ay,Az,temp*CheckSum\r\n
		  memset(buff, 0x00, sizeof(buff));
		  //sprintf(buff, "%02d,1,%f,%f,%f,%f", id, xdata/(float)1000000.0, ydata/(float)1000000.0, zdata/(float)1000000.0,temp);
		  sprintf(buff, "%02d,1,%f,%f,%f,%.2f", id, Ax, Ay, Az, temp);
		  checksum=buff[0];
		  for(i=1; i<strlen(buff); i++) checksum=checksum ^ buff[i];
		  //sprintf(buff, "$%02d,1,%f,%f,%f,%f*%02X\r\n", id, xdata/(float)1000000.0, ydata/(float)1000000.0, zdata/(float)1000000.0, temp, checksum);
		  sprintf(buff, "$%02d,1,%f,%f,%f,%.2f*%02X\r\n", id, Ax, Ay, Az, temp, checksum);
		  //serial_printf("%s",buff);
		  osSemaphoreAcquire(RS232BinarySemHandle,100);
		  serial_puts(buff);
		  osSemaphoreRelease(RS232BinarySemHandle);
	  }
	  else{
		 osDelay(1);
	  }
  }
  /* USER CODE END StartAccTask */
}

void StartSerialTask(void *argument)
{
  /* USER CODE BEGIN StartSerialTask */
	osStatus_t status;
	uint8_t queuenumber;
	char bufferserial[30] = "";
	SERIAL_Init();

  /* Infinite loop */
  for(;;)
  {
	  serialTaskTimer = osKernelGetTickCount();

		queuenumber = osMessageQueueGetCount(serialQueueHandle);
		if (queuenumber > 0) {
			memset(bufferserial, 0, sizeof(bufferserial));
			status = osMessageQueueGet(serialQueueHandle, &bufferserial, NULL, 1000); // wait for message
			if (status == osOK) {
				SERIAL_Process(bufferserial);
			}
		}

    osDelay(1);
  }
  /* USER CODE END StartSerialTask */
}

void StartTtlTask(void *argument)
{
  /* USER CODE BEGIN StartTtlTask */
	uint8_t checksum;
	osStatus_t status;
	int i;
	uint8_t queuenumber;
	char bufferttl[11] = "";
	TTL_Init();
	char buff[100];
  /* Infinite loop */
  for(;;)
  {
	  ttlTaskTimer = osKernelGetTickCount();

		queuenumber = osMessageQueueGetCount(ttlQueueHandle);
		if (queuenumber > 0) {
			memset(bufferttl, 0, sizeof(bufferttl));
			status = osMessageQueueGet(ttlQueueHandle, &bufferttl, NULL, 1000); // wait for message
			if (status == osOK) {
				//TTL_Process(bufferttl);
				  memset(buff, 0x00, sizeof(buff));
				  //sprintf(buff, "%02d,1,%f,%f,%f,%f", id, xdata/(float)1000000.0, ydata/(float)1000000.0, zdata/(float)1000000.0,temp);
				  sprintf(buff, "%02d,4,%s", id, bufferttl);
				  checksum=buff[0];
				  for(i=1; i<strlen(buff); i++) checksum=checksum ^ buff[i];
				  //sprintf(buff, "$%02d,1,%f,%f,%f,%f*%02X\r\n", id, xdata/(float)1000000.0, ydata/(float)1000000.0, zdata/(float)1000000.0, temp, checksum);
				  sprintf(buff, "$%02d,4,%s*%02X\r\n", id, bufferttl, checksum);

				osSemaphoreAcquire(RS232BinarySemHandle,100);
				serial_puts(buff);
				osSemaphoreRelease(RS232BinarySemHandle);
			}
		}

    osDelay(1);
  }
  /* USER CODE END StartTtlTask */
}

void StartWatchdogTask(void *argument)
{
  /* USER CODE BEGIN StartWatchdogTask */
	uint8_t ResetOnHang;

	uint8_t flagdefault = 0;
	uint8_t flagacc = 0;
	uint8_t flagserial = 0;
	uint8_t flagttl = 0;

  /* Infinite loop */
  for(;;)
  {
	  ResetOnHang = 0;

		if ((osKernelGetTickCount() - defaultTaskTimer) > 5000) {
			if (flagdefault == 0) {
				flagdefault = 1;
				serial_printf("$Hangdefault\r\n");
			}
			ResetOnHang = 1;
		} else
			flagdefault = 0;

		if ((osKernelGetTickCount() - accTaskTimer) > 5000) {
			if (flagacc == 0) {
				flagacc = 1;
				serial_printf("$Hangacc\r\n");
			}
			ResetOnHang = 1;
		} else
			flagacc = 0;

		if ((osKernelGetTickCount() - serialTaskTimer) > 5000) {
			if (flagserial == 0) {
				flagserial = 1;
				serial_printf("$Hangserial\r\n");
			}
			ResetOnHang = 1;
		} else
			flagserial = 0;

		if ((osKernelGetTickCount() - ttlTaskTimer) > 5000) {
			if (flagttl == 0) {
				flagttl = 1;
				serial_printf("$Hangttl\r\n");
			}
			ResetOnHang = 1;
		} else
			flagttl = 0;

		if (!ResetOnHang) {
			if (HAL_IWDG_Refresh(&hiwdg) != HAL_OK) {
				// /* Refresh Error*/
				Error_Handler();
			}
		}
		//else NVIC_SystemReset();
    osDelay(1);
  }
  /* USER CODE END StartWatchdogTask */
}

 /**
  * @brief  Period elapsed callback in non blocking mode
  * @note   This function is called  when TIM6 interrupt took place, inside
  * HAL_TIM_IRQHandler(). It makes a direct call to HAL_IncTick() to increment
  * a global variable "uwTick" used as application time base.
  * @param  htim : TIM handle
  * @retval None
  */
void HAL_TIM_PeriodElapsedCallback(TIM_HandleTypeDef *htim)
{
  if (htim->Instance == TIM6) {
    HAL_IncTick();
  }
}

void Error_Handler(void)
{
  __disable_irq();
  while (1)
  {
  }
}

/************************ (C) COPYRIGHT STMicroelectronics *****END OF FILE****/
